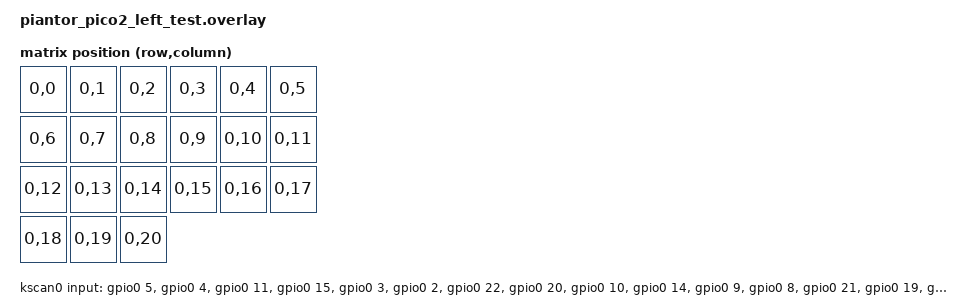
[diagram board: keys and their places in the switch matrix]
#include <zephyr/dt-bindings/gpio/gpio.h>
#include <dt-bindings/zmk/matrix_transform.h>

/ {
    chosen {
        zmk,kscan = &kscan0;
        zmk,physical-layout = &physical_layout0;
    };

    kscan0: kscan0 {
        compatible = "zmk,kscan-gpio-direct";
        wakeup-source;

        input-gpios =
            <&gpio0 5  (GPIO_ACTIVE_LOW | GPIO_PULL_UP)>,
            <&gpio0 4  (GPIO_ACTIVE_LOW | GPIO_PULL_UP)>,
            <&gpio0 11 (GPIO_ACTIVE_LOW | GPIO_PULL_UP)>,
            <&gpio0 15 (GPIO_ACTIVE_LOW | GPIO_PULL_UP)>,
            <&gpio0 3  (GPIO_ACTIVE_LOW | GPIO_PULL_UP)>,
            <&gpio0 2  (GPIO_ACTIVE_LOW | GPIO_PULL_UP)>,

            <&gpio0 22 (GPIO_ACTIVE_LOW | GPIO_PULL_UP)>,
            <&gpio0 20 (GPIO_ACTIVE_LOW | GPIO_PULL_UP)>,
            <&gpio0 10 (GPIO_ACTIVE_LOW | GPIO_PULL_UP)>,
            <&gpio0 14 (GPIO_ACTIVE_LOW | GPIO_PULL_UP)>,
            <&gpio0 9  (GPIO_ACTIVE_LOW | GPIO_PULL_UP)>,
            <&gpio0 8  (GPIO_ACTIVE_LOW | GPIO_PULL_UP)>,

            <&gpio0 21 (GPIO_ACTIVE_LOW | GPIO_PULL_UP)>,
            <&gpio0 19 (GPIO_ACTIVE_LOW | GPIO_PULL_UP)>,
            <&gpio0 6  (GPIO_ACTIVE_LOW | GPIO_PULL_UP)>,
            <&gpio0 7  (GPIO_ACTIVE_LOW | GPIO_PULL_UP)>,
            <&gpio0 13 (GPIO_ACTIVE_LOW | GPIO_PULL_UP)>,
            <&gpio0 12 (GPIO_ACTIVE_LOW | GPIO_PULL_UP)>,

            <&gpio0 17 (GPIO_ACTIVE_LOW | GPIO_PULL_UP)>,
            <&gpio0 18 (GPIO_ACTIVE_LOW | GPIO_PULL_UP)>,
            <&gpio0 16 (GPIO_ACTIVE_LOW | GPIO_PULL_UP)>;
    };

    default_transform: keymap_transform0 {
        compatible = "zmk,matrix-transform";
        rows = <1>;
        columns = <21>;

        map = <
            RC(0,0)  RC(0,1)  RC(0,2)  RC(0,3)  RC(0,4)  RC(0,5)
            RC(0,6)  RC(0,7)  RC(0,8)  RC(0,9)  RC(0,10) RC(0,11)
            RC(0,12) RC(0,13) RC(0,14) RC(0,15) RC(0,16) RC(0,17)
            RC(0,18) RC(0,19) RC(0,20)
        >;
    };

    physical_layout0: physical_layout_0 {
        compatible = "zmk,physical-layout";
        display-name = "Piantor Left";
        kscan = <&kscan0>;
        transform = <&default_transform>;
    };
};
